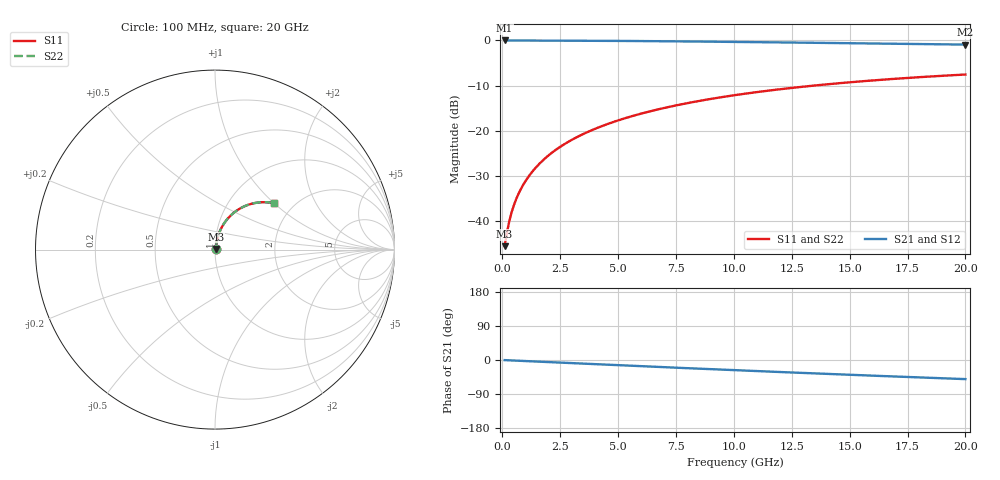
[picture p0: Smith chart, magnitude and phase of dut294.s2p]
! Touchstone file exported from HFSS 2026.1.0
!  File:  C:/ffzhzh/LocalFiles/Ansys_Project_Files/temp_train_BSMRDL_294_1782989335_41620.aedt
!  Generated:  06:50:14 PM Jul  2, 2026
!  Design:  BSMRDL
!  Project:  temp_train_BSMRDL_294_1782989335_41620
! Variables:
!  h_bsmrdl = 2.56um
!  h_ox = 20um
!  h_rdl = 5um
!  h_sub = 80um
!  h_tmrdl = 5um
!  h_tsv = 80um
!  h_via = 3um
!  l_bsmrdl = 764.64um
!  l_sub = 1164.64um
!  l_tmrdl = 200um
!  m_sub = 200um
!  pitch = 50.47um
!  r_tsv = 6um
!  s_tmrdl = 10um
!  w_bsmrdl = 25.66um
!  w_sub = 500um
!  w_tmrdl = 12um
!  x_tsv_center1 = 206um
!  x_tsv_center2 = 996.3um
!  x_tsv_center3 = 1208.3um
!  x_tsv_center4 = 1998.6um
!  x_tsv_center5 = 2210.6um
!  x_tsv_center6 = 3000.9um
# GHz S MA R 50.000000
! Terminal data exported
! Port[1] = BSM_RDL1_1_T1
! Port[2] = BSM_RDL1_1_T2
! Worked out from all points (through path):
!   200 points, 100 MHz to 20 GHz, reference 50 ohm
!   highest |S21| = -0.04 dB at 100 MHz (marker M1); lowest = -1.0 dB at 20 GHz (marker M2)
!   group delay of S21, straight-line fit = 7.02 ps
!   lowest |S11| = -45.5 dB at 100 MHz (marker M3), VSWR 1.01, Z = 50.4 + j0.299 ohm
!   |S11| at or under -10 dB: start of sweep to 13.48 GHz
!   |S22| runs from -45.5 to -7.6 dB; largest |S21 - S12| = 2.2e-15
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0.1  0.005312 34.0  0.9956 -0.3  0.9956 -0.3  0.005312 34.0
! Gamma 0 0 0 0
! Port Impedance 50 0 50 0
0.2  0.007469 51.7  0.9954 -0.6  0.9954 -0.6  0.007469 51.7
0.3  0.009957 60.4  0.9952 -0.9  0.9952 -0.9  0.009957 60.4
0.4  0.01251 65.2  0.9949 -1.1  0.9949 -1.1  0.01251 65.2
0.5  0.01505 68.3  0.9947 -1.4  0.9947 -1.4  0.01505 68.3
0.6  0.01759 70.5  0.9945 -1.7  0.9945 -1.7  0.01759 70.5
0.8  0.02267 73.4  0.9942 -2.2  0.9942 -2.2  0.02267 73.4
1.1  0.03033 75.9  0.9937 -3.1  0.9937 -3.1  0.03033 75.9
1.3  0.03546 76.8  0.9935 -3.6  0.9935 -3.6  0.03546 76.8
1.6  0.0432 77.5  0.9931 -4.4  0.9931 -4.4  0.0432 77.5
2.1  0.05614 77.9  0.9923 -5.8  0.9923 -5.8  0.05614 77.9
2.7  0.07167 77.5  0.9911 -7.4  0.9911 -7.4  0.07167 77.5
3.5  0.09226 76.3  0.9892 -9.6  0.9892 -9.6  0.09225 76.3
4.2  0.1101 75.0  0.9871 -11.5  0.9871 -11.5  0.1101 75.0
5  0.1302 73.2  0.9844 -13.6  0.9844 -13.6  0.1302 73.2
5.9  0.1524 71.1  0.9809 -16.1  0.9809 -16.1  0.1524 71.1
6.8  0.1742 69.0  0.9769 -18.4  0.9769 -18.4  0.1742 69.0
8.3  0.2091 65.3  0.9694 -22.4  0.9694 -22.4  0.2091 65.3
10.1  0.2489 60.9  0.9592 -27.0  0.9592 -27.0  0.2489 60.9
13.4  0.3148 52.9  0.9386 -35.2  0.9386 -35.2  0.3148 52.9
16.7  0.3714 45.3  0.917 -43.0  0.917 -43.0  0.3713 45.3
20  0.4185 38.0  0.8962 -50.4  0.8962 -50.4  0.4185 38.0
